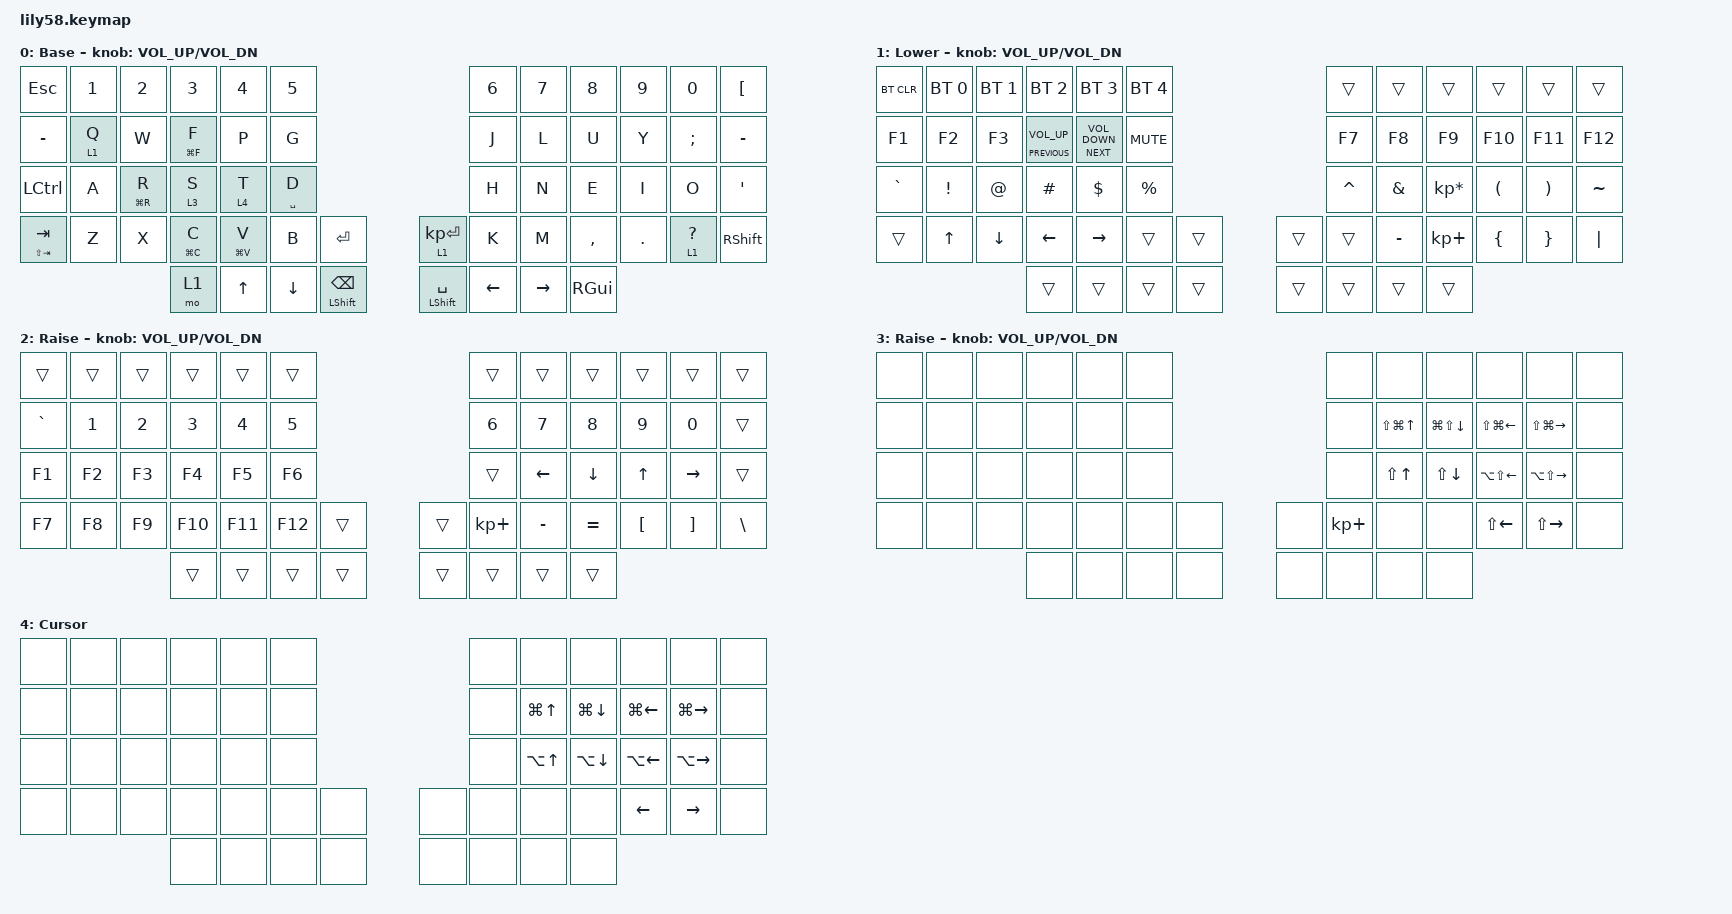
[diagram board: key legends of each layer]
/*
 * Copyright (c) 2020 The ZMK Contributors
 *
 * SPDX-License-Identifier: MIT
 */

#include <behaviors.dtsi>
#include <dt-bindings/zmk/bt.h>
#include <dt-bindings/zmk/keys.h>

/ {
    behaviors {
        del: del {
            compatible = "zmk,behavior-tap-dance";
            label = "DEL";
            #binding-cells = <0>;
            bindings = <&mt LEFT_SHIFT K_BACK>;
            tapping-term-ms = <170>;
        };

        space: space {
            compatible = "zmk,behavior-tap-dance";
            label = "SPACE";
            #binding-cells = <0>;
            tapping-term-ms = <170>;
            bindings = <&mt LEFT_SHIFT SPACE>;
        };
    };

    keymap {
        compatible = "zmk,keymap";

        default_layer {
            // ------------------------------------------------------------------------------------------------------------
            // |  ESC  |  1  |  2  |  3   |  4   |  5   |                   |  6   |  7    |  8    |  9   |   0   |   `   |
            // |  TAB  |  Q  |  W  |  E   |  R   |  T   |                   |  Y   |  U    |  I    |  O   |   P   |   -   |
            // |  CTRL |  A  |  S  |  D   |  F   |  G   |                   |  H   |  J    |  K    |  L   |   ;   |   '   |
            // | SHIFT |  Z  |  X  |  C   |  V   |  B   |   "["  |  |  "]"  |  N   |  M    |  ,    |  .   |   /   | SHIFT |
            //                     | ALT  | GUI  | LOWER|  SPACE |  | ENTER | RAISE| BSPC  | GUI   |

            display-name = "Base";
            bindings = <
&kp ESC          &kp N1   &kp N2       &kp N3       &kp N4        &kp N5                                                         &kp N6    &kp N7     &kp N8     &kp N9   &kp N0          &kp LEFT_BRACKET
&kp MINUS        &lt 1 Q  &kp W        &mt LG(F) F  &kp P         &kp G                                                          &kp J     &kp L      &kp U      &kp Y    &kp SEMICOLON   &kp MINUS
&kp LCTRL        &kp A    &mt LG(R) R  &lt 3 S      &lt 4 T       &mt SPACE D                                                    &kp H     &kp N      &kp E      &kp I    &kp O           &kp SQT
&mt LS(TAB) TAB  &kp Z    &kp X        &mt LG(C) C  &mt LG(V) V   &kp B        &kp ENTER                   &lt 1 KP_ENTER        &kp K     &kp M      &kp COMMA  &kp DOT  &lt 1 QUESTION  &kp RSHFT
                                       &mo 1        &kp UP_ARROW  &kp DOWN     &mt LEFT_SHIFT BACKSPACE    &mt LEFT_SHIFT SPACE  &kp LEFT  &kp RIGHT  &kp RGUI
            >;

            sensor-bindings = <&inc_dec_kp C_VOL_UP C_VOL_DN>;
        };

        Media {
            // ------------------------------------------------------------------------------------------------------------
            // | BTCLR | BT1 | BT2 |  BT3 |  BT4 |  BT5 |                   |      |       |       |      |       |       |
            // |  F1   |  F2 |  F3 |  F4  |  F5  |  F6  |                   |  F7  |  F8   |  F9   |  F10 |  F11  |  F12  |
            // |   `   |  !  |  @  |  #   |  $   |  %   |                   |  ^   |  &    |  *    |  (   |   )   |   ~   |
            // |       |     |     |      |      |      |        |  |       |      |  _    |  +    |  {   |   }   |  "|"  |
            //                     |      |      |      |        |  |       |      |       |       |

            display-name = "Lower";
            bindings = <
&bt BT_CLR  &bt BT_SEL 0  &bt BT_SEL 1  &bt BT_SEL 2                &bt BT_SEL 3              &bt BT_SEL 4                    &trans     &trans     &trans           &trans    &trans    &trans
&kp F1      &kp F2        &kp F3        &mt K_PREVIOUS K_VOLUME_UP  &mt K_NEXT K_VOLUME_DOWN  &kp C_MUTE                      &kp F7     &kp F8     &kp F9           &kp F10   &kp F11   &kp F12
&kp GRAVE   &kp EXCL      &kp AT        &kp HASH                    &kp DOLLAR                &kp PRCNT                       &kp CARET  &kp AMPS   &kp KP_MULTIPLY  &kp LPAR  &kp RPAR  &kp TILDE
&trans      &kp UP_ARROW  &kp DOWN      &kp LEFT                    &kp RIGHT                 &trans        &trans    &trans  &trans     &kp MINUS  &kp KP_PLUS      &kp LBRC  &kp RBRC  &kp PIPE
                                        &trans                      &trans                    &trans        &trans    &trans  &trans     &trans     &trans
            >;

            sensor-bindings = <&inc_dec_kp C_VOL_UP C_VOL_DN>;
        };

        raise_layer {
            // ------------------------------------------------------------------------------------------------------------
            // |       |     |     |      |      |      |                   |      |       |       |      |       |       |
            // |   `   |  1  |  2  |  3   |  4   |  5   |                   |  6   |   7   |   8   |  9   |   0   |       |
            // |   F1  |  F2 |  F3 |  F4  |  F5  |  F6  |                   |      |   <-  |   v   |  ^   |  ->   |       |
            // |   F7  |  F8 |  F9 |  F10 |  F11 |  F12 |        |  |       |  +   |   -   |   =   |  [   |   ]   |   \   |
            //                     |      |      |      |        |  |       |      |       |       |

            display-name = "Raise";
            bindings = <
&trans     &trans  &trans  &trans   &trans   &trans                     &trans       &trans     &trans     &trans    &trans     &trans
&kp GRAVE  &kp N1  &kp N2  &kp N3   &kp N4   &kp N5                     &kp N6       &kp N7     &kp N8     &kp N9    &kp N0     &trans
&kp F1     &kp F2  &kp F3  &kp F4   &kp F5   &kp F6                     &trans       &kp LEFT   &kp DOWN   &kp UP    &kp RIGHT  &trans
&kp F7     &kp F8  &kp F9  &kp F10  &kp F11  &kp F12  &trans    &trans  &kp KP_PLUS  &kp MINUS  &kp EQUAL  &kp LBKT  &kp RBKT   &kp BSLH
                           &trans   &trans   &trans   &trans    &trans  &trans       &trans     &trans
            >;

            sensor-bindings = <&inc_dec_kp C_VOL_UP C_VOL_DN>;
        };

        Select {
            display-name = "Raise";
            bindings = <
&none  &none  &none  &none  &none  &none                  &none        &none             &none               &none               &none                    &none
&none  &none  &none  &none  &none  &none                  &none        &kp LS(LG(UP))    &kp LG(LS(DOWN))    &kp LS(LG(LEFT))    &kp LS(LG(RIGHT))        &none
&none  &none  &none  &none  &none  &none                  &none        &kp LS(UP_ARROW)  &kp LS(DOWN_ARROW)  &kp LA(LS(LEFT))    &kp LA(LS(RIGHT_ARROW))  &none
&none  &none  &none  &none  &none  &none  &none    &none  &kp KP_PLUS  &none             &none               &kp LS(LEFT_ARROW)  &kp LS(RIGHT_ARROW)      &none
                     &none  &none  &none  &none    &none  &none        &none             &none
            >;

            sensor-bindings = <&inc_dec_kp C_VOL_UP C_VOL_DN>;
        };

        Cursor {
            bindings = <
&none  &none  &none  &none  &none  &none                  &none  &none             &none         &none         &none          &none
&none  &none  &none  &none  &none  &none                  &none  &kp LG(UP_ARROW)  &kp LG(DOWN)  &kp LG(LEFT)  &kp LG(RIGHT)  &none
&none  &none  &none  &none  &none  &none                  &none  &kp LA(UP_ARROW)  &kp LA(DOWN)  &kp LA(LEFT)  &kp LA(RIGHT)  &none
&none  &none  &none  &none  &none  &none  &none    &none  &none  &none             &none         &kp LEFT      &kp RIGHT      &none
                     &none  &none  &none  &none    &none  &none  &none             &none
            >;
        };
    };
};
